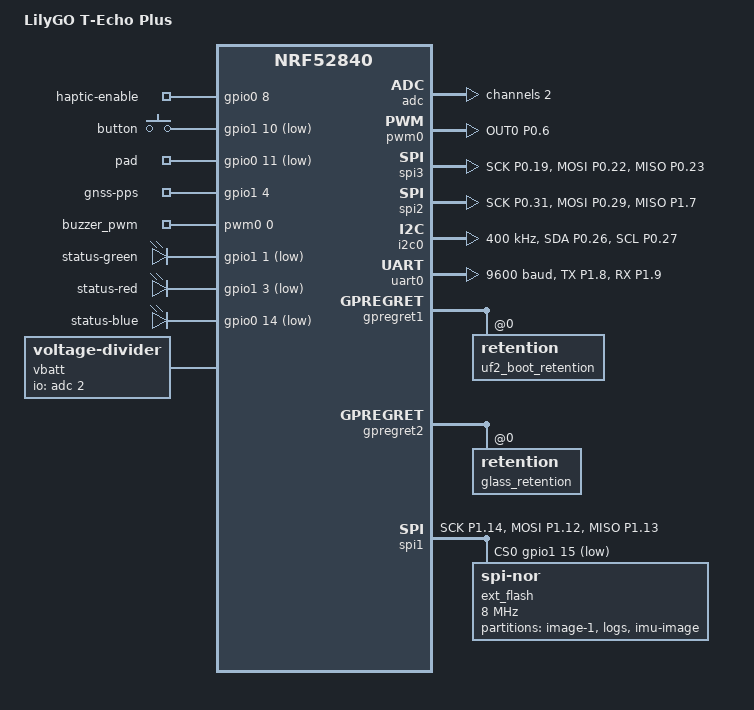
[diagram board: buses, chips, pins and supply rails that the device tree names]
/dts-v1/;
#include <nordic/nrf52840_qiaa.dtsi>
#include <zephyr/dt-bindings/adc/adc.h>
#include <zephyr/dt-bindings/adc/nrf-saadc.h>
#include <zephyr/dt-bindings/gpio/gpio.h>
#include <zephyr/dt-bindings/i2c/i2c.h>
#include <zephyr/dt-bindings/regulator/nrf5x.h>


/ {
	model = "LilyGO T-Echo Plus";
	compatible = "lilygo,t-echo-plus";

	chosen {
		zephyr,sram = &sram0;
		zephyr,flash = &flash0;
		zephyr,code-partition = &slot0_partition;
	};

	aliases {
		radio-spi = &spi3;
		epd-spi = &spi2;
		gnss-uart = &uart0;
		sensor-i2c = &i2c0;
		buzzer = &buzzer_pwm;
		haptic-enable = &haptic_enable_gpio;
		button = &button_gpio;
		pad = &pad_gpio;
		gnss-pps = &gnss_pps_gpio;
		led-green = &led_green;
		led-red = &led_red;
		led-blue = &led_blue;
		gnss-wake = &gnss_wake_gpio;
		gnss-reset = &gnss_reset_gpio;
		peripheral-rail = &peripheral_rail_gpio;
		regulator-enable = &regulator_enable_gpio;
		flash-write-protect = &flash_write_protect_gpio;
		flash-hold = &flash_hold_gpio;
		radio-reset = &radio_reset_gpio;
		watchdog0 = &wdt0;
	};

	board_gpios {
		compatible = "gpio-keys";

		/* Plus-only haptic driver enable (P0.08). */
		haptic_enable_gpio: haptic_enable {
			gpios = <&gpio0 8 GPIO_ACTIVE_HIGH>;
			label = "haptic-enable";
		};

		button_gpio: button {
			gpios = <&gpio1 10 (GPIO_ACTIVE_LOW | GPIO_PULL_UP)>;
			label = "button";
		};

		/* Capacitive touch pad, touched reads low, from SoftRF iomap/LilyGO_TEcho.h:68. */
		pad_gpio: pad {
			gpios = <&gpio0 11 GPIO_ACTIVE_LOW>;
			label = "pad";
		};

		/* L76K 1 PPS: the slot clock's only hardware anchor. */
		gnss_pps_gpio: gnss_pps {
			gpios = <&gpio1 4 GPIO_ACTIVE_HIGH>;
			label = "gnss-pps";
		};
	};

	/* Power and reset pins, a pin map disabled so no driver binds it: README.md */
	board_power_gpios {
		compatible = "gpio-keys";
		status = "disabled";

		/* The e-paper, flash, GNSS and sensor rail, SoftRF LilyGO_TEcho.h:80-81. */
		peripheral_rail_gpio: peripheral_rail {
			gpios = <&gpio0 12 GPIO_ACTIVE_HIGH>;
			label = "peripheral-rail";
		};

		/* Enables U11, which feeds the SoC and the SX1262, so it is never lowered. */
		regulator_enable_gpio: regulator_enable {
			gpios = <&gpio0 13 GPIO_ACTIVE_HIGH>;
			label = "regulator-enable";
		};

		/* Flash WP# and HOLD#, real inputs in single-line mode, held high by board.c. */
		flash_write_protect_gpio: flash_write_protect {
			gpios = <&gpio0 7 GPIO_ACTIVE_HIGH>;
			label = "flash-write-protect";
		};

		flash_hold_gpio: flash_hold {
			gpios = <&gpio0 5 GPIO_ACTIVE_HIGH>;
			label = "flash-hold";
		};

		/* L76K WAKE_UP and RESET_N, SoftRF nRF52.cpp:1589-1593. */
		gnss_wake_gpio: gnss_wake {
			gpios = <&gpio1 2 GPIO_ACTIVE_HIGH>;
			label = "gnss-wake";
		};

		gnss_reset_gpio: gnss_reset {
			gpios = <&gpio1 5 GPIO_ACTIVE_LOW>;
			label = "gnss-reset";
		};

		/* SX1262 NRESET, which pins.h checks its flat pin number against. */
		radio_reset_gpio: radio_reset {
			gpios = <&gpio0 25 GPIO_ACTIVE_LOW>;
			label = "radio-reset";
		};
	};

	/* Pins board.c reads before any bus driver claims them, disabled like board_power_gpios. */
	board_probe_gpios {
		compatible = "gpio-keys";
		status = "disabled";

		/* MOSI and SCK are bit-banged for the panel ID, then spi2 owns them. */
		epd_dc_gpio: epd_dc {
			gpios = <&gpio0 28 GPIO_ACTIVE_HIGH>;
			label = "epd-dc";
		};

		epd_reset_gpio: epd_reset {
			gpios = <&gpio0 2 GPIO_ACTIVE_HIGH>;
			label = "epd-reset";
		};

		epd_busy_gpio: epd_busy {
			gpios = <&gpio0 3 GPIO_ACTIVE_HIGH>;
			label = "epd-busy";
		};

		epd_mosi_gpio: epd_mosi {
			gpios = <&gpio0 29 GPIO_ACTIVE_HIGH>;
			label = "epd-mosi";
		};

		epd_sck_gpio: epd_sck {
			gpios = <&gpio0 31 GPIO_ACTIVE_HIGH>;
			label = "epd-sck";
		};

		/* The buzzer PWM's P0.06, read once before pwm0 binds. */
		buzzer_sense_gpio: buzzer_sense {
			gpios = <&gpio0 6 GPIO_ACTIVE_HIGH>;
			label = "buzzer-sense";
		};
	};

	/* Lines the drivers drive through io::Gpio, named so pins.h can check them: README.md */
	board_part_gpios {
		compatible = "gpio-keys";
		status = "disabled";

		radio_busy_gpio: radio_busy {
			gpios = <&gpio0 17 GPIO_ACTIVE_HIGH>;
			label = "radio-busy";
		};

		/* SX1262 DIO1, read as a level, because a dwell runs on a deadline, not an edge. */
		radio_dio1_gpio: radio_dio1 {
			gpios = <&gpio0 20 GPIO_ACTIVE_HIGH>;
			label = "radio-dio1";
		};

		/* The e-paper's front light, not a panel enable, SoftRF iomap/LilyGO_TEcho.h:78. */
		epd_backlight_gpio: epd_backlight {
			gpios = <&gpio1 11 GPIO_ACTIVE_HIGH>;
			label = "epd-backlight";
		};
	};

	pwmleds {
		compatible = "pwm-leds";
		buzzer_pwm: buzzer_pwm {
			pwms = <&pwm0 0 PWM_HZ(2000) PWM_POLARITY_NORMAL>;
		};
	};

	/* The REV_2 and Plus status LEDs, active-low, not the older T-Echo's map: README.md */
	leds {
		compatible = "gpio-leds";

		led_green: led_green {
			gpios = <&gpio1 1 GPIO_ACTIVE_LOW>;
			label = "status-green";
		};

		led_red: led_red {
			gpios = <&gpio1 3 GPIO_ACTIVE_LOW>;
			label = "status-red";
		};

		led_blue: led_blue {
			gpios = <&gpio0 14 GPIO_ACTIVE_LOW>;
			label = "status-blue";
		};
	};

	/* The cell behind a 100K over 100K divider: README.md */
	vbatt: vbatt {
		compatible = "voltage-divider";
		io-channels = <&adc 2>;
		output-ohms = <100000>;
		full-ohms = <200000>;
	};
};

/* A 3.6 V full scale over the divider's 2.1 V, and 40 us for a 100K source to settle. */
&adc {
	status = "okay";
	#address-cells = <1>;
	#size-cells = <0>;

	channel@2 {
		reg = <2>;
		zephyr,gain = "ADC_GAIN_1_6";
		zephyr,reference = "ADC_REF_INTERNAL";
		zephyr,acquisition-time = <ADC_ACQ_TIME(ADC_ACQ_TIME_MICROSECONDS, 40)>;
		zephyr,input-positive = <NRF_SAADC_AIN2>;
		zephyr,resolution = <12>;
	};
};

&pinctrl {
	spi3_default: spi3_default {
		group1 {
			psels = <NRF_PSEL(SPIM_SCK, 0, 19)>,
				<NRF_PSEL(SPIM_MOSI, 0, 22)>,
				<NRF_PSEL(SPIM_MISO, 0, 23)>;
		};
	};
	spi3_sleep: spi3_sleep {
		group1 {
			psels = <NRF_PSEL(SPIM_SCK, 0, 19)>,
				<NRF_PSEL(SPIM_MOSI, 0, 22)>,
				<NRF_PSEL(SPIM_MISO, 0, 23)>;
			low-power-enable;
		};
	};

	/* The panel is write-only, and the placeholder MISO avoids P0.07, the flash's WP#. */
	spi2_default: spi2_default {
		group1 {
			psels = <NRF_PSEL(SPIM_SCK, 0, 31)>,
				<NRF_PSEL(SPIM_MOSI, 0, 29)>,
				<NRF_PSEL(SPIM_MISO, 1, 7)>;
		};
	};
	spi2_sleep: spi2_sleep {
		group1 {
			psels = <NRF_PSEL(SPIM_SCK, 0, 31)>,
				<NRF_PSEL(SPIM_MOSI, 0, 29)>,
				<NRF_PSEL(SPIM_MISO, 1, 7)>;
			low-power-enable;
		};
	};

	/* External flash on SPIM1, single-line, so board.c holds IO2 and IO3 high: README.md */
	spi1_default: spi1_default {
		group1 {
			psels = <NRF_PSEL(SPIM_SCK, 1, 14)>,
				<NRF_PSEL(SPIM_MOSI, 1, 12)>,
				<NRF_PSEL(SPIM_MISO, 1, 13)>;
		};
	};
	spi1_sleep: spi1_sleep {
		group1 {
			psels = <NRF_PSEL(SPIM_SCK, 1, 14)>,
				<NRF_PSEL(SPIM_MOSI, 1, 12)>,
				<NRF_PSEL(SPIM_MISO, 1, 13)>;
			low-power-enable;
		};
	};

	uart0_default: uart0_default {
		group1 {
			psels = <NRF_PSEL(UART_TX, 1, 8)>;
		};
		group2 {
			psels = <NRF_PSEL(UART_RX, 1, 9)>;
			bias-pull-up;
		};
	};
	uart0_sleep: uart0_sleep {
		group1 {
			psels = <NRF_PSEL(UART_TX, 1, 8)>, <NRF_PSEL(UART_RX, 1, 9)>;
			low-power-enable;
		};
	};

	/* TWIM0 is free, because nothing uses SPIM0, which shares its peripheral ID. */
	i2c0_default: i2c0_default {
		group1 {
			psels = <NRF_PSEL(TWIM_SDA, 0, 26)>, <NRF_PSEL(TWIM_SCL, 0, 27)>;
		};
	};
	i2c0_sleep: i2c0_sleep {
		group1 {
			psels = <NRF_PSEL(TWIM_SDA, 0, 26)>, <NRF_PSEL(TWIM_SCL, 0, 27)>;
			low-power-enable;
		};
	};

	/* Buzzer PWM, Plus only (Meshtastic t-echo-plus PIN_BUZZER). */
	pwm0_default: pwm0_default {
		group1 {
			psels = <NRF_PSEL(PWM_OUT0, 0, 6)>;
		};
	};
	pwm0_sleep: pwm0_sleep {
		group1 {
			psels = <NRF_PSEL(PWM_OUT0, 0, 6)>;
			low-power-enable;
		};
	};
};

&gpio0 { status = "okay"; };
&gpio1 { status = "okay"; };
&gpiote { status = "okay"; };

&pwm0 {
	status = "okay";
	pinctrl-0 = <&pwm0_default>;
	pinctrl-1 = <&pwm0_sleep>;
	pinctrl-names = "default", "sleep";
};

&spi3 {
	compatible = "nordic,nrf-spim";
	status = "okay";
	pinctrl-0 = <&spi3_default>;
	pinctrl-1 = <&spi3_sleep>;
	pinctrl-names = "default", "sleep";
	/* The SX1262 driver drives CS itself through io::Spi::select. */
	cs-gpios = <&gpio0 24 GPIO_ACTIVE_LOW>;
};

&spi2 {
	compatible = "nordic,nrf-spim";
	status = "okay";
	pinctrl-0 = <&spi2_default>;
	pinctrl-1 = <&spi2_sleep>;
	pinctrl-names = "default", "sleep";
	/* The SSD1681 driver drives CS itself through io::Spi::select. */
	cs-gpios = <&gpio0 30 GPIO_ACTIVE_LOW>;
};

/* Our own parts probe this bus, so nothing on it is declared: README.md */
&i2c0 {
	compatible = "nordic,nrf-twim";
	status = "okay";
	pinctrl-0 = <&i2c0_default>;
	pinctrl-1 = <&i2c0_sleep>;
	pinctrl-names = "default", "sleep";
	/* At 100 kHz one 240-byte BHI260AP chunk outlasts the service pass. */
	clock-frequency = <I2C_BITRATE_FAST>;
};

&uart0 {
	compatible = "nordic,nrf-uarte";
	status = "okay";
	current-speed = <9600>;
	pinctrl-0 = <&uart0_default>;
	pinctrl-1 = <&uart0_sleep>;
	pinctrl-names = "default", "sleep";
};

/* DC-DC needs the inductor on DCC/DEC4, which meshcore shows fitted: README.md */
&reg1 {
	regulator-initial-mode = <NRF5X_REG_MODE_DCDC>;
};

/* The bootloader's GPREGRET, unprefixed, so a one-byte write is the magic. */
&gpregret1 {
	uf2_boot_retention: retention@0 {
		compatible = "zephyr,retention";
		status = "okay";
		reg = <0x0 0x1>;
	};
};

/* The application's own byte, kept through SYSTEM OFF: core/power/README.md */
&gpregret2 {
	glass_retention: retention@0 {
		compatible = "zephyr,retention";
		status = "okay";
		reg = <0x0 0x1>;
	};
};

/* A .uf2 writes 0x1000..0xEA000 only, MCUboot and slot0: README.md */
&flash0 {
	partitions {
		compatible = "fixed-partitions";
		#address-cells = <1>;
		#size-cells = <1>;

		/* MBR and SoftDevice S140 6.1.1, declared so nothing allocates over them. */
		softdevice_partition: partition@0 {
			label = "softdevice";
			read-only;
			reg = <0x00000000 0x00026000>;
		};

		boot_partition: partition@26000 {
			label = "mcuboot";
			reg = <0x00026000 0x0000E000>;
		};

		slot0_partition: partition@34000 {
			label = "image-0";
			reg = <0x00034000 0x000B6000>;
		};

		/* Above USER_FLASH_END, below the LittleFS others keep at 0xED000. */
		identity_partition: partition@ea000 {
			label = "identity";
			reg = <0x000EA000 0x00001000>;
		};

		storage_partition: partition@ec000 {
			label = "storage";
			reg = <0x000EC000 0x00008000>;
		};

		/* Out of the application's reach, so a bad MCUboot needs no SWD. */
		uf2_boot_partition: partition@f4000 {
			label = "uf2-bootloader";
			read-only;
			reg = <0x000F4000 0x0000C000>;
		};
	};
};

/* One of two NOR parts is fitted, so the generic driver reads SFDP at runtime: README.md */
&spi1 {
	compatible = "nordic,nrf-spim";
	status = "okay";
	pinctrl-0 = <&spi1_default>;
	pinctrl-1 = <&spi1_sleep>;
	pinctrl-names = "default", "sleep";
	cs-gpios = <&gpio1 15 GPIO_ACTIVE_LOW>;

	ext_flash: flash@0 {
		compatible = "jedec,spi-nor";
		reg = <0>;
		/* The SPIM1 ceiling, within 03h READ spec on both parts. */
		spi-max-frequency = <8000000>;
		/* Unenforced under SFDP_RUNTIME, kept because the binding wants it. */
		jedec-id = [c2 28 15];
		/* Bits, not bytes: 16 Mbit is 2 MiB. */
		size = <16777216>;
		/* A previous image may leave the chip in deep power-down. */
		has-dpd;
		t-enter-dpd = <10000>;
		t-exit-dpd = <35000>;

		partitions {
			compatible = "fixed-partitions";
			#address-cells = <1>;
			#size-cells = <1>;

			/* Exactly slot0's size: README.md */
			slot1_partition: partition@0 {
				label = "image-1";
				reg = <0x00000000 0x000B6000>;
			};

			log_partition: partition@b6000 {
				label = "logs";
				reg = <0x000B6000 0x0012A000>;
			};

			/* The BHI260AP image, last so the log keeps its offset. */
			imu_image_partition: partition@1e0000 {
				label = "imu-image";
				reg = <0x001E0000 0x00020000>;
			};
		};
	};
};
